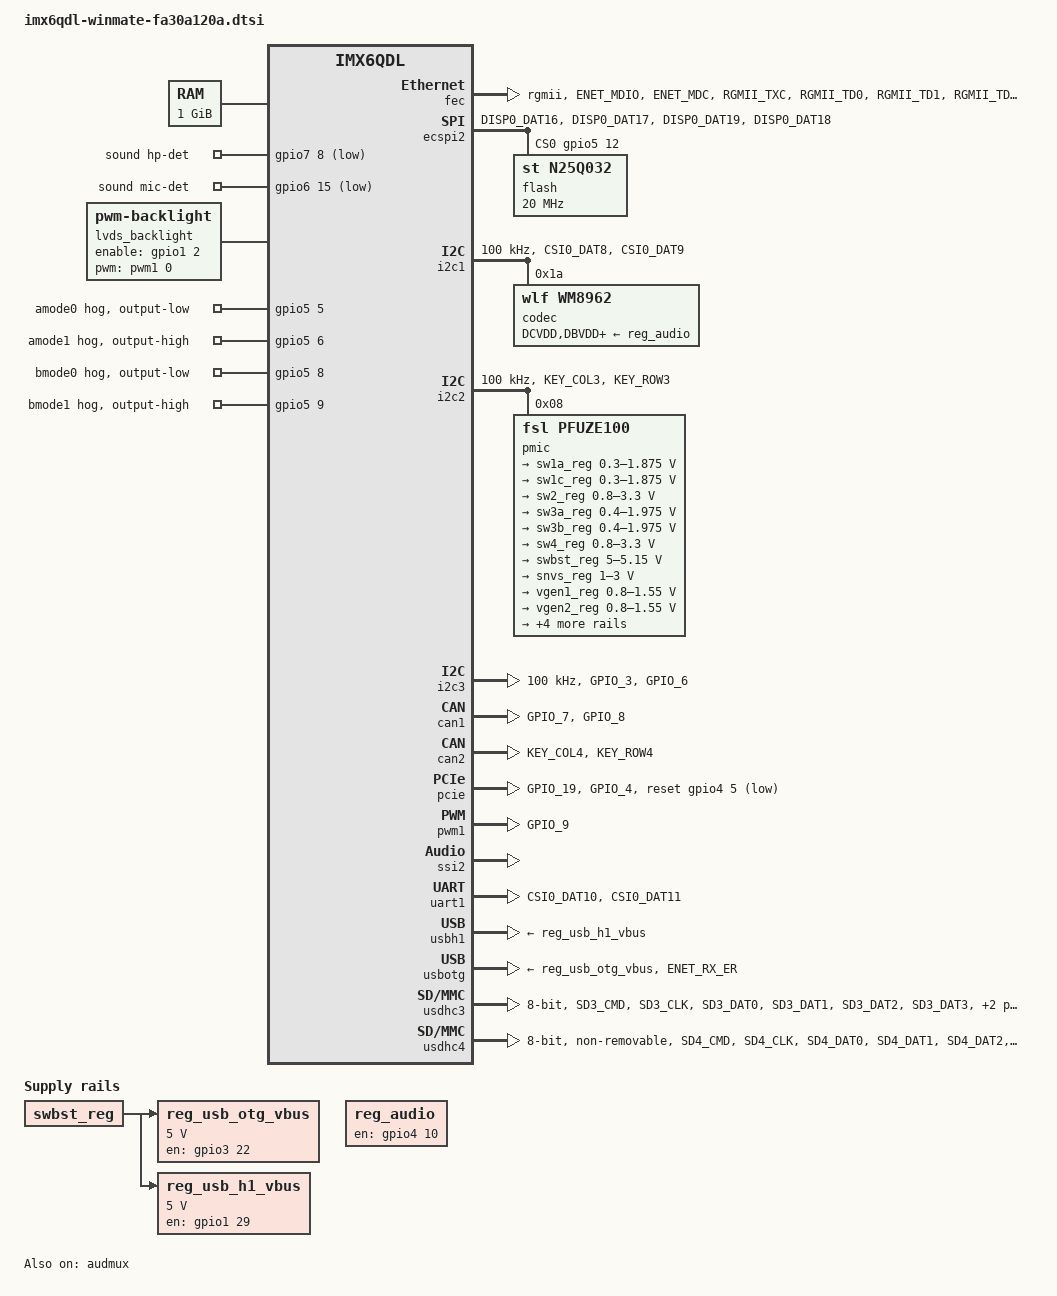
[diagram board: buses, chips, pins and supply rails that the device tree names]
/*
 * Copyright 2020 Bootlin
 * Copyright 2012-2015 Freescale Semiconductor, Inc.
 * Copyright 2011 Linaro Ltd.
 *
 * License. You may obtain a copy of the GNU General Public License
 * Version 2 or later at the following locations:
 *
 * http://www.opensource.org/licenses/gpl-license.html
 * http://www.gnu.org/copyleft/gpl.html
 */

#include <dt-bindings/gpio/gpio.h>
#include <dt-bindings/input/input.h>

/ {

	aliases {
		mxcfb0 = &mxcfb1;
		mxcfb1 = &mxcfb2;
		mxcfb2 = &mxcfb3;
		mxcfb3 = &mxcfb4;
	};

	chosen {
		stdout-path = &uart1;
	};

	memory: memory {
		reg = <0x10000000 0x40000000>;
	};

	regulators {
		compatible = "simple-bus";
		#address-cells = <1>;
		#size-cells = <0>;

		reg_usb_otg_vbus: regulator@0 {
			compatible = "regulator-fixed";
			reg = <0>;
			regulator-name = "usb_otg_vbus";
			regulator-min-microvolt = <5000000>;
			regulator-max-microvolt = <5000000>;
			gpio = <&gpio3 22 0>;
			enable-active-high;
			vin-supply = <&swbst_reg>;
		};

		reg_usb_h1_vbus: regulator@1 {
			compatible = "regulator-fixed";
			reg = <1>;
			regulator-name = "usb_h1_vbus";
			regulator-min-microvolt = <5000000>;
			regulator-max-microvolt = <5000000>;
			gpio = <&gpio1 29 0>;
			enable-active-high;
			vin-supply = <&swbst_reg>;
		};

		reg_audio: regulator@2 {
			compatible = "regulator-fixed";
			reg = <2>;
			regulator-name = "wm8962-supply";
			gpio = <&gpio4 10 0>;
			enable-active-high;
		};
	};

	sound {
		compatible = "fsl,imx6q-sabresd-wm8962",
			   "fsl,imx-audio-wm8962";
		model = "wm8962-audio";
		cpu-dai = <&ssi2>;
		audio-codec = <&codec>;
		asrc-controller = <&asrc>;
		audio-routing =
			"Headphone Jack", "HPOUTL",
			"Headphone Jack", "HPOUTR",
			"Ext Spk", "SPKOUTL",
			"Ext Spk", "SPKOUTR",
			"AMIC", "MICBIAS",
			"IN3R", "AMIC",
			"DMIC", "MICBIAS",
			"DMICDAT", "DMIC",
			"CPU-Playback", "ASRC-Playback",
			"Playback", "CPU-Playback",
			"ASRC-Capture", "CPU-Capture",
			"CPU-Capture", "Capture";
		mux-int-port = <2>;
		mux-ext-port = <3>;
		codec-master;
		hp-det-gpios = <&gpio7 8 1>; /*HEADPHONE_DET*/
		mic-det-gpios = <&gpio6 15 1>;/*MICROPHONE_DET*/
	};

	mxcfb1: fb@0 {
		compatible = "fsl,mxc_sdc_fb";
		disp_dev = "ldb";
		interface_pix_fmt = "RGB666";
		default_bpp = <16>;
		int_clk = <0>;
		late_init = <0>;
		status = "okay";
	};

	mxcfb2: fb@1 {
		compatible = "fsl,mxc_sdc_fb";
		disp_dev = "hdmi";
		interface_pix_fmt = "RGB24";
		mode_str ="1920x1080M@60";
		default_bpp = <24>;
		int_clk = <0>;
		late_init = <0>;
		status = "disabled";
	};

	mxcfb3: fb@2 {
		compatible = "fsl,mxc_sdc_fb";
		disp_dev = "lcd";
		interface_pix_fmt = "RGB565";
		mode_str ="CLAA-WVGA";
		default_bpp = <16>;
		int_clk = <0>;
		late_init = <0>;
		status = "disabled";
	};

	mxcfb4: fb@3 {
		compatible = "fsl,mxc_sdc_fb";
		disp_dev = "ldb";
		interface_pix_fmt = "RGB666";
		default_bpp = <16>;
		int_clk = <0>;
		late_init = <0>;
		status = "disabled";
	};

	lvds_backlight: pwm-backlight {
		compatible = "pwm-backlight";
		pinctrl-names = "default";
		pinctrl-0 = <&pinctrl_backlight>;
		pwms = <&pwm1 0 5000000>;
		brightness-levels = <
			/*0  1  2  3  4  5  6  7  8  9*/
			5  5  5  5  5  5  6  7  8  9
			10 11 12 13 14 15 16 17 18 19
			20 21 22 23 24 25 26 27 28 29
			30 31 32 33 34 35 36 37 38 39
			40 41 42 43 44 45 46 47 48 49
			50 51 52 53 54 55 56 57 58 59
			60 61 62 63 64 65 66 67 68 69
			70 71 72 73 74 75 76 77 78 79
			80 81 82 83 84 85 86 87 88 89
			90 91 92 93 94 95 96 97 98 99
			100
		>;
		default-brightness-level = <100>;
		enable-gpios = <&gpio1 2 GPIO_ACTIVE_HIGH>;
		status = "okay";
	};
};

&audmux {
	pinctrl-names = "default";
	pinctrl-0 = <&pinctrl_audmux>;
	status = "okay";
};

&reg_arm {
       vin-supply = <&sw1a_reg>;
};

&reg_pu {
       vin-supply = <&sw1c_reg>;
};

&reg_soc {
       vin-supply = <&sw1c_reg>;
};

&clks {
	assigned-clocks = <&clks IMX6QDL_CLK_LDB_DI0_SEL>,
			  <&clks IMX6QDL_CLK_LDB_DI1_SEL>;
	assigned-clock-parents = <&clks IMX6QDL_CLK_PLL2_PFD0_352M>,
				 <&clks IMX6QDL_CLK_PLL2_PFD0_352M>;
};

&fec {
	pinctrl-names = "default";
	pinctrl-0 = <&pinctrl_enet>;
	phy-mode = "rgmii";
	phy-reset-gpios = <&gpio1 25 GPIO_ACTIVE_LOW>;
	fsl,magic-packet;
	status = "okay";
};

&gpc {
	fsl,ldo-bypass = <1>;
};

&ecspi2 {
	fsl,spi-num-chipselects = <1>;
	cs-gpios = <&gpio5 12 0>;/*DISP0_DAT18*/
	pinctrl-names = "default";
	pinctrl-0 = <&pinctrl_ecspi2>;
	status = "okay";

	flash: n25q032@0 {/* SPI NOR FLASH */
		#address-cells = <1>;
		#size-cells = <1>;
		compatible = "st,n25q032", "jedec,spi-nor";
		spi-max-frequency = <20000000>;/*108MHz, original 20,000,000*/
		reg = <0>;
	};
};

&i2c1 {
	clock-frequency = <100000>;
	pinctrl-names = "default";
	pinctrl-0 = <&pinctrl_i2c1>;
	status = "okay";

	codec: wm8962@1a {
		compatible = "wlf,wm8962";
		reg = <0x1a>;
		clocks = <&clks IMX6QDL_CLK_CKO>;
		DCVDD-supply = <&reg_audio>;
		DBVDD-supply = <&reg_audio>;
		AVDD-supply = <&reg_audio>;
		CPVDD-supply = <&reg_audio>;
		MICVDD-supply = <&reg_audio>;
		PLLVDD-supply = <&reg_audio>;
		SPKVDD1-supply = <&reg_audio>;
		SPKVDD2-supply = <&reg_audio>;
		gpio-cfg = <
			0x0000 /* 0:Default */
			0x0000 /* 1:Default */
			0x0013 /* 2:FN_DMICCLK */
			0x0000 /* 3:Default */
			0x8014 /* 4:FN_DMICCDAT */
			0x0000 /* 5:Default */
		>;
		amic-mono;
	};
};


&i2c2 {
	clock-frequency = <100000>;
	pinctrl-names = "default";
	pinctrl-0 = <&pinctrl_i2c2>;
	status = "okay";

	pmic: pfuze100@8 {
		compatible = "fsl,pfuze100";
		reg = <0x8>;

		regulators {
			sw1a_reg: sw1ab {
				regulator-min-microvolt = <300000>;
				regulator-max-microvolt = <1875000>;
				regulator-boot-on;
				regulator-always-on;
				regulator-ramp-delay = <6250>;
			};

			sw1c_reg: sw1c {
				regulator-min-microvolt = <300000>;
				regulator-max-microvolt = <1875000>;
				regulator-boot-on;
				regulator-always-on;
				regulator-ramp-delay = <6250>;
			};

			sw2_reg: sw2 {
				regulator-min-microvolt = <800000>;
				regulator-max-microvolt = <3300000>;
				regulator-boot-on;
				regulator-always-on;
				regulator-ramp-delay = <6250>;
			};

			sw3a_reg: sw3a {
				regulator-min-microvolt = <400000>;
				regulator-max-microvolt = <1975000>;
				regulator-boot-on;
				regulator-always-on;
			};

			sw3b_reg: sw3b {
				regulator-min-microvolt = <400000>;
				regulator-max-microvolt = <1975000>;
				regulator-boot-on;
				regulator-always-on;
			};

			sw4_reg: sw4 {
				regulator-min-microvolt = <800000>;
				regulator-max-microvolt = <3300000>;
				regulator-always-on;
			};

			swbst_reg: swbst {
				regulator-min-microvolt = <5000000>;
				regulator-max-microvolt = <5150000>;
			};

			snvs_reg: vsnvs {
				regulator-min-microvolt = <1000000>;
				regulator-max-microvolt = <3000000>;
				regulator-boot-on;
				regulator-always-on;
			};

			vref_reg: vrefddr {
				regulator-boot-on;
				regulator-always-on;
			};

			vgen1_reg: vgen1 {
				regulator-min-microvolt = <800000>;
				regulator-max-microvolt = <1550000>;
			};

			vgen2_reg: vgen2 {
				regulator-min-microvolt = <800000>;
				regulator-max-microvolt = <1550000>;
			};

			vgen3_reg: vgen3 {
				regulator-min-microvolt = <1800000>;
				regulator-max-microvolt = <3300000>;
			};

			vgen4_reg: vgen4 {
				regulator-min-microvolt = <1800000>;
				regulator-max-microvolt = <3300000>;
				regulator-always-on;
			};

			vgen5_reg: vgen5 {
				regulator-min-microvolt = <1800000>;
				regulator-max-microvolt = <3300000>;
				regulator-always-on;
			};

			vgen6_reg: vgen6 {
				regulator-min-microvolt = <1800000>;
				regulator-max-microvolt = <3300000>;
				regulator-always-on;
			};
		};
	};

};

&i2c3 {
	clock-frequency = <100000>;
	pinctrl-names = "default";
	pinctrl-0 = <&pinctrl_i2c3>;
	status = "okay";
};

&gpio5 {
	amode0 {
		gpio-hog;
		gpios = <5 GPIO_ACTIVE_HIGH>;
		output-low;
	};
	amode1 {
		gpio-hog;
		gpios = <6 GPIO_ACTIVE_HIGH>;
		output-high;
	};
	bmode0 {
		gpio-hog;
		gpios = <8 GPIO_ACTIVE_HIGH>;
		output-low;
	};
	bmode1 {
		gpio-hog;
		gpios = <9 GPIO_ACTIVE_HIGH>;
		output-high;
	};
};

&iomuxc {
	pinctrl-names = "default";
	pinctrl-0 = <&pinctrl_hog>;

	imx6qdl-plantium {
		pinctrl_hog: hoggrp {
			fsl,pins = <
				MX6QDL_PAD_NANDF_D0__GPIO2_IO00		0x80000000
				MX6QDL_PAD_NANDF_D1__GPIO2_IO01		0x80000000
				MX6QDL_PAD_NANDF_D2__GPIO2_IO02		0x80000000		/*NULL*/
				MX6QDL_PAD_NANDF_D3__GPIO2_IO03		0x80000000		/*USB POWER 1 EN*/
				MX6QDL_PAD_GPIO_0__CCM_CLKO1		0x130b0
				MX6QDL_PAD_ENET_TXD1__GPIO1_IO29	0x80000000
				MX6QDL_PAD_EIM_D22__GPIO3_IO22		0x80000000		/*USB_OTG_PWR_EN same*/
				MX6QDL_PAD_EIM_CS1__GPIO2_IO24		0x80000000		/*PAD18*/
				MX6QDL_PAD_ENET_RXD0__GPIO1_IO27	0x80000000		/*NULL*/
				MX6QDL_PAD_EIM_A25__GPIO5_IO02		0x80000000		/*PAD22*/
				MX6QDL_PAD_SD1_CMD__GPIO1_IO18		0x80000000		/*GP_LED_R*/
				MX6QDL_PAD_SD3_RST__GPIO7_IO08		0x80000000		/*HEADPHONE_DET same*/
				MX6QDL_PAD_EIM_DA9__GPIO3_IO09		0x80000000
				MX6QDL_PAD_GPIO_16__GPIO7_IO11		0x80000000  /*AMP_SD*/
				MX6QDL_PAD_NANDF_CS0__GPIO6_IO11	0x80000000		/*SPI_NOR_WP*/
				MX6QDL_PAD_NANDF_CS1__GPIO6_IO14	0x80000000		/*NULL*/
				MX6QDL_PAD_NANDF_CS2__GPIO6_IO15	0x80000000		/*LCD_EN*/
				MX6QDL_PAD_NANDF_CS3__GPIO6_IO16	0x80000000		/*Touch_RST*/

				MX6QDL_PAD_EIM_D28__GPIO3_IO28		0x80000000		/*USB POWER 0 EN fa33*/
				MX6QDL_PAD_NANDF_CLE__GPIO6_IO07	0x80000000		/*TCH_PWRON*/
				MX6QDL_PAD_GPIO_5__GPIO1_IO05		0x80000000		/*EEPROM_WP*/
				MX6QDL_PAD_SD1_DAT1__GPIO1_IO17		0x80000000	/*internal buzzer controller*/
				MX6QDL_PAD_SD1_DAT0__GPIO1_IO16		0x80000000	/*GP_LED_B*/

				MX6QDL_PAD_EIM_DA5__GPIO3_IO05		0x80000000
				MX6QDL_PAD_EIM_DA11__GPIO3_IO11		0x80000000
			>;

		};

		pinctrl_audmux: audmuxgrp {
			fsl,pins = <
				MX6QDL_PAD_CSI0_DAT7__AUD3_RXD		0x130b0
				MX6QDL_PAD_CSI0_DAT4__AUD3_TXC		0x130b0
				MX6QDL_PAD_CSI0_DAT5__AUD3_TXD		0x110b0
				MX6QDL_PAD_CSI0_DAT6__AUD3_TXFS		0x130b0
			>;
		};

		pinctrl_enet: enetgrp { //TODO Verify 1b030 in place of 1b0b0 value
			fsl,pins = <
				MX6QDL_PAD_ENET_MDIO__ENET_MDIO		0x1b0b0
				MX6QDL_PAD_ENET_MDC__ENET_MDC		0x1b0b0
				MX6QDL_PAD_RGMII_TXC__RGMII_TXC		0x1b0b0
				MX6QDL_PAD_RGMII_TD0__RGMII_TD0		0x1b0b0
				MX6QDL_PAD_RGMII_TD1__RGMII_TD1		0x1b0b0
				MX6QDL_PAD_RGMII_TD2__RGMII_TD2		0x1b0b0
				MX6QDL_PAD_RGMII_TD3__RGMII_TD3		0x1b0b0
				MX6QDL_PAD_RGMII_TX_CTL__RGMII_TX_CTL	0x1b0b0
				MX6QDL_PAD_ENET_REF_CLK__ENET_TX_CLK	0x1a0b0
				MX6QDL_PAD_RGMII_RXC__RGMII_RXC		0x1b0b0
				MX6QDL_PAD_RGMII_RD0__RGMII_RD0		0x1b0b0
				MX6QDL_PAD_RGMII_RD1__RGMII_RD1		0x1b0b0
				MX6QDL_PAD_RGMII_RD2__RGMII_RD2		0x1b0b0
				MX6QDL_PAD_RGMII_RD3__RGMII_RD3		0x1b0b0
				MX6QDL_PAD_RGMII_RX_CTL__RGMII_RX_CTL	0x1b0b0
				MX6QDL_PAD_ENET_CRS_DV__GPIO1_IO25	0x80000000
			>;
		};

		pinctrl_ecspi2: ecspi2grp {
			fsl,pins = <
				MX6QDL_PAD_DISP0_DAT16__ECSPI2_MOSI	0x100b1
				MX6QDL_PAD_DISP0_DAT17__ECSPI2_MISO	0x100b1
				MX6QDL_PAD_DISP0_DAT19__ECSPI2_SCLK	0x100b1
				MX6QDL_PAD_DISP0_DAT18__GPIO5_IO12	0x1b0b0	/*	SS0	for SPI NOR FLASH	GPIO5_IO12*/
			>;
		};

		pinctrl_i2c1: i2c1grp {
			fsl,pins = <
				MX6QDL_PAD_CSI0_DAT8__I2C1_SDA		0x4001b8b1
				MX6QDL_PAD_CSI0_DAT9__I2C1_SCL		0x4001b8b1
			>;
		};

		pinctrl_i2c2: i2c2grp {
			fsl,pins = <
				MX6QDL_PAD_KEY_COL3__I2C2_SCL		0x4001b8b1
				MX6QDL_PAD_KEY_ROW3__I2C2_SDA		0x4001b8b1
			>;
		};

		pinctrl_i2c3: i2c3grp {
			fsl,pins = <
				MX6QDL_PAD_GPIO_3__I2C3_SCL		0x4001b8b1
				MX6QDL_PAD_GPIO_6__I2C3_SDA		0x4001b8b1
			>;
		};

		pinctrl_flexcan1: flexcan1grp {
			fsl,pins = <
				MX6QDL_PAD_GPIO_7__FLEXCAN1_TX      0x1b0b0
				MX6QDL_PAD_GPIO_8__FLEXCAN1_RX      0x1b0b0
			>;
		};

		pinctrl_flexcan2: flexcan2grp {
			fsl,pins = <
				MX6QDL_PAD_KEY_COL4__FLEXCAN2_TX      0x1b0b0
				MX6QDL_PAD_KEY_ROW4__FLEXCAN2_RX      0x1b0b0
			>;
		};

		pinctrl_pcie: pciegrp {
			fsl,pins = <
				MX6QDL_PAD_GPIO_19__GPIO4_IO05		0x80000000  /*PAD82*/
				MX6QDL_PAD_GPIO_4__GPIO1_IO04		0x80000000  /*WIFI_EN*/
			>;
		};

		pinctrl_pwm1: pwm1grp {
			fsl,pins = <
				MX6QDL_PAD_GPIO_9__PWM1_OUT		0x1b0b1
			>;
		};

		pinctrl_uart1: uart1grp {
			fsl,pins = <
				MX6QDL_PAD_CSI0_DAT10__UART1_TX_DATA	0x1b0b1
				MX6QDL_PAD_CSI0_DAT11__UART1_RX_DATA	0x1b0b1
			>;
		};

		pinctrl_uart3: uart3grp {
			fsl,pins = <
				MX6QDL_PAD_EIM_D24__UART3_TX_DATA	0x1b0b1
				MX6QDL_PAD_EIM_D25__UART3_RX_DATA	0x1b0b1
			>;
		};

		pinctrl_uart4: uart4grp {
			fsl,pins = <
				MX6QDL_PAD_CSI0_DAT12__UART4_TX_DATA	0x1b0b1
				MX6QDL_PAD_CSI0_DAT13__UART4_RX_DATA	0x1b0b1
				MX6QDL_PAD_CSI0_DAT16__UART4_RTS_B	0x1b0b1
				MX6QDL_PAD_CSI0_DAT17__UART4_CTS_B	0x1b0b1
			>;
		};

		pinctrl_uart5: uart5grp {
			fsl,pins = <
				MX6QDL_PAD_CSI0_DAT14__UART5_TX_DATA	0x1b0b1
				MX6QDL_PAD_CSI0_DAT15__UART5_RX_DATA	0x1b0b1
				MX6QDL_PAD_CSI0_DAT18__UART5_RTS_B	0x1b0b1
				MX6QDL_PAD_CSI0_DAT19__UART5_CTS_B	0x1b0b1
			>;
		};

		pinctrl_usbotg: usbotggrp {
			fsl,pins = <
				MX6QDL_PAD_ENET_RX_ER__USB_OTG_ID	0x17059
			>;
		};

		pinctrl_usdhc3: usdhc3grp {
			fsl,pins = <
				MX6QDL_PAD_SD3_CMD__SD3_CMD		0x17059
				MX6QDL_PAD_SD3_CLK__SD3_CLK		0x10059
				MX6QDL_PAD_SD3_DAT0__SD3_DATA0		0x17059
				MX6QDL_PAD_SD3_DAT1__SD3_DATA1		0x17059
				MX6QDL_PAD_SD3_DAT2__SD3_DATA2		0x17059
				MX6QDL_PAD_SD3_DAT3__SD3_DATA3		0x17059
			>;
		};

		pinctrl_usdhc4: usdhc4grp {
			fsl,pins = <
				MX6QDL_PAD_SD4_CMD__SD4_CMD		0x17059
				MX6QDL_PAD_SD4_CLK__SD4_CLK		0x10059
				MX6QDL_PAD_SD4_DAT0__SD4_DATA0		0x17059
				MX6QDL_PAD_SD4_DAT1__SD4_DATA1		0x17059
				MX6QDL_PAD_SD4_DAT2__SD4_DATA2		0x17059
				MX6QDL_PAD_SD4_DAT3__SD4_DATA3		0x17059
				MX6QDL_PAD_SD4_DAT4__SD4_DATA4		0x17059
				MX6QDL_PAD_SD4_DAT5__SD4_DATA5		0x17059
				MX6QDL_PAD_SD4_DAT6__SD4_DATA6		0x17059
				MX6QDL_PAD_SD4_DAT7__SD4_DATA7		0x17059
			>;
		};

		pinctrl_backlight: backlight {
			fsl,pins = <
				MX6QDL_PAD_GPIO_2__GPIO1_IO02		0x80000000/*BL_ON 2*/
			>;
		};

		pinctrl_wdog: wdoggrp {
			fsl,pins = <
				MX6QDL_PAD_NANDF_D4__GPIO2_IO04 0x80000000  /*WDOG_PWR_EN DNP */
				MX6QDL_PAD_GPIO_1__WDOG2_B 0x80000000
			>;
		};

	};
};


&can1 {
    pinctrl-names = "default";
    pinctrl-0 = <&pinctrl_flexcan1>;
    status = "okay";
};

&can2 {
    pinctrl-names = "default";
    pinctrl-0 = <&pinctrl_flexcan2>;
    status = "okay";
};

&pcie {
	pinctrl-names = "default";
	pinctrl-0 = <&pinctrl_pcie>;
	reset-gpio = <&gpio4 5 GPIO_ACTIVE_LOW>; /*PAD82*/
	power-on-gpio = <&gpio1 4 GPIO_ACTIVE_LOW>; /*NANDF_D4*/
	status = "okay";
};

&pwm1 {
	pinctrl-names = "default";
	pinctrl-0 = <&pinctrl_pwm1>;
	status = "okay";
};

&snvs_poweroff {
	status = "okay";
};

&ssi2 {
	status = "okay";
};

&uart1 {
	pinctrl-names = "default";
	pinctrl-0 = <&pinctrl_uart1>;
	status = "okay";
};

&usbh1 {
	vbus-supply = <&reg_usb_h1_vbus>;
	status = "okay";
};

&usbotg {
	vbus-supply = <&reg_usb_otg_vbus>;
	pinctrl-names = "default";
	pinctrl-0 = <&pinctrl_usbotg>;
	disable-over-current;
	srp-disable;
	hnp-disable;
	adp-disable;
	status = "okay";
};

&usbphy1 {
	tx-d-cal = <0x5>;
};

&usbphy2 {
	tx-d-cal = <0x5>;
};

&usdhc3 {
	pinctrl-names = "default";
	pinctrl-0 = <&pinctrl_usdhc3>;
	bus-width = <8>;
	cd-gpios = <&gpio2 0 GPIO_ACTIVE_LOW>;
	wp-gpios = <&gpio2 1 GPIO_ACTIVE_HIGH>;
	no-1-8-v;
	keep-power-in-suspend;
	enable-sdio-wakeup;
	status = "okay";
};

&usdhc4 {
	pinctrl-names = "default";
	pinctrl-0 = <&pinctrl_usdhc4>;
	bus-width = <8>;
	non-removable;
	no-1-8-v;
	keep-power-in-suspend;
	status = "okay";
};
